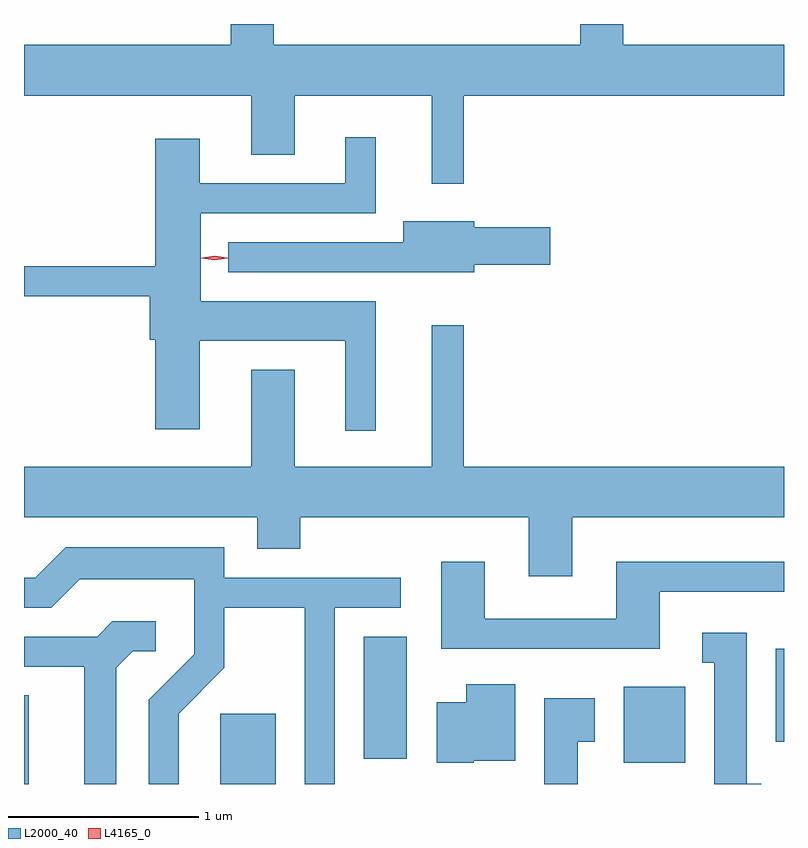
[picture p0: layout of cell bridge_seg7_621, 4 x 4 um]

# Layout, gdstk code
import gdstk
lib = gdstk.Library(unit=1e-6, precision=1e-09)
def R(c, l, rs):  # rectangles x0, y0, x1, y1
    for r in rs: c.add(gdstk.rectangle(r[:2], r[2:], *l))
def P(c, l, *ps):  # polygons
    for p in ps: c.add(gdstk.Polygon(p, *l))
L2000_40 = (2000, 40)
L4165_0 = (4165, 0)

bridge_seg7_621 = lib.new_cell('bridge_seg7_621')
R(bridge_seg7_621, L2000_40, [(756.284,1699.593,756.309,1700.059), (757.316,1699.593,757.609,1699.964), (759.441,1699.706,759.764,1700.104), (758.071,1699.726,758.299,1700.369), (760.241,1699.816,760.284,1700.304)])
P(bridge_seg7_621, L2000_40, [(758.599,1703.216),(760.284,1703.216),(760.284,1703.484),(759.439,1703.484),(759.439,1703.593),(759.211,1703.593),(759.211,1703.484),(757.599,1703.484),(757.599,1703.593),(757.371,1703.593),(757.371,1703.484),(756.284,1703.484),(756.284,1703.216),(757.481,1703.216),(757.481,1702.906),(757.709,1702.906),(757.709,1703.216),(758.431,1703.216),(758.431,1702.753),(758.599,1702.753)],
  [(758.134,1702.134),(757.214,1702.134),(757.214,1702.596),(758.134,1702.596),(758.134,1702.998),(757.976,1702.998),(757.976,1702.754),(757.209,1702.754),(757.209,1702.989),(756.976,1702.989),(756.976,1702.319),(756.284,1702.319),(756.284,1702.161),(756.946,1702.161),(756.946,1701.931),(756.976,1701.931),(756.976,1701.461),(757.209,1701.461),(757.209,1701.926),(757.976,1701.926),(757.976,1701.453),(758.134,1701.453)],
  [(758.654,1702.326),(759.054,1702.326),(759.054,1702.524),(758.654,1702.524),(758.654,1702.554),(758.281,1702.554),(758.281,1702.444),(757.358,1702.444),(757.358,1702.286),(758.654,1702.286)],
  [(759.169,1700.996),(760.284,1700.996),(760.284,1701.264),(758.599,1701.264),(758.599,1702.008),(758.431,1702.008),(758.431,1701.264),(757.709,1701.264),(757.709,1701.774),(757.481,1701.774),(757.481,1701.264),(756.284,1701.264),(756.284,1700.996),(757.511,1700.996),(757.511,1700.831),(757.739,1700.831),(757.739,1700.996),(758.941,1700.996),(758.941,1700.686),(759.169,1700.686)],
  [(757.099,1699.964),(757.339,1700.204),(757.339,1700.521),(757.761,1700.521),(757.761,1699.593),(757.919,1699.593),(757.919,1700.521),(758.268,1700.521),(758.268,1700.679),(757.339,1700.679),(757.339,1700.839),(756.504,1700.839),(756.344,1700.679),(756.284,1700.679),(756.284,1700.521),(756.427,1700.521),(756.577,1700.671),(757.181,1700.671),(757.181,1700.277),(756.941,1700.037),(756.941,1699.593),(757.099,1699.593)],
  [(759.629,1700.606),(760.284,1700.606),(760.284,1700.764),(759.401,1700.764),(759.401,1700.464),(758.709,1700.464),(758.709,1700.764),(758.481,1700.764),(758.481,1700.306),(759.629,1700.306)],
  [(756.769,1700.204),(756.857,1700.291),(756.978,1700.291),(756.978,1700.449),(756.749,1700.449),(756.669,1700.369),(756.284,1700.369),(756.284,1700.211),(756.601,1700.211),(756.601,1699.593),(756.769,1699.593)],
  [(760.164,1699.594),(760.089,1699.594),(760.089,1700.389),(759.853,1700.389),(759.853,1700.231),(759.916,1700.231),(759.916,1699.593),(760.164,1699.593)],
  [(758.65,1699.716),(758.869,1699.716),(758.869,1700.119),(758.611,1700.119),(758.611,1700.024),(758.456,1700.024),(758.456,1699.706),(758.65,1699.706)],
  [(759.199,1699.816),(759.289,1699.816),(759.289,1700.044),(759.021,1700.044),(759.021,1699.593),(759.199,1699.593)])
P(bridge_seg7_621, L4165_0, [(757.287,1702.349),(757.217,1702.359),(757.217,1702.359),(757.217,1702.36),(757.286,1702.369),(757.356,1702.36),(757.356,1702.36),(757.356,1702.359)],
  [(757.287,1702.352),(757.222,1702.361),(757.221,1702.362),(757.222,1702.362),(757.287,1702.372),(757.352,1702.363),(757.353,1702.362),(757.352,1702.362)])

lib.write_gds('bridge_seg7_621.gds')
